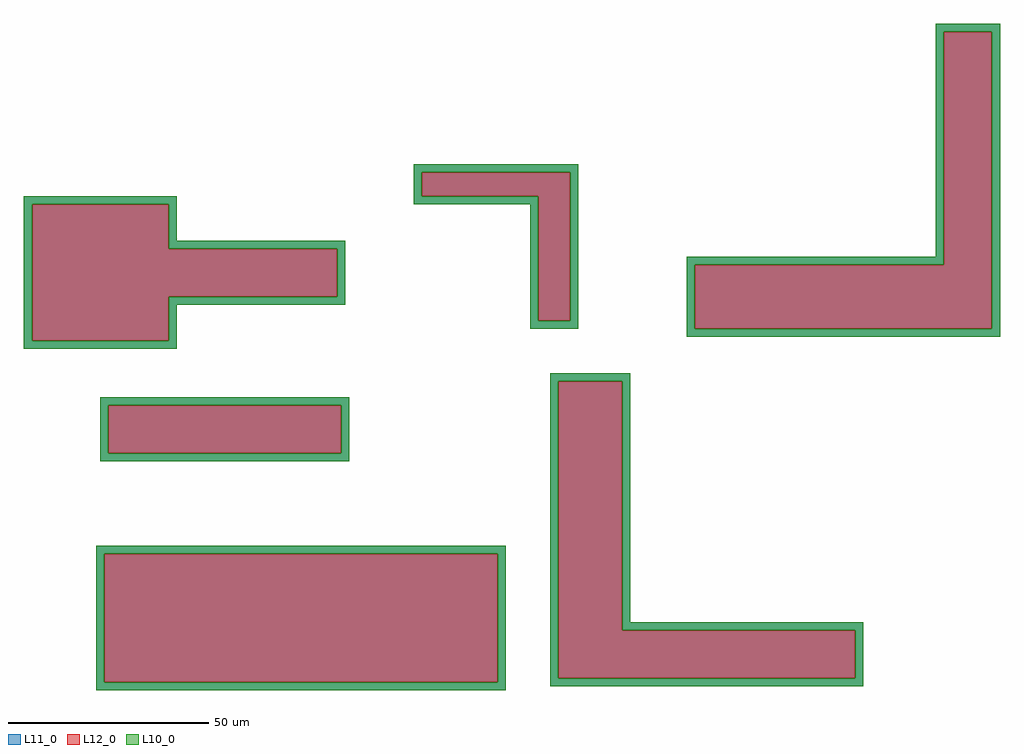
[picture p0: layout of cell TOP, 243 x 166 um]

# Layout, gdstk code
from math import pi, radians
import gdstk
lib = gdstk.Library(unit=1e-6, precision=1e-09)
def R(c, l, rs):  # rectangles x0, y0, x1, y1
    for r in rs: c.add(gdstk.rectangle(r[:2], r[2:], *l))
def P(c, l, *ps):  # polygons
    for p in ps: c.add(gdstk.Polygon(p, *l))
L10_0 = (10, 0)
L11_0 = (11, 0)
L12_0 = (12, 0)

c_a = lib.new_cell('A')

c_b = lib.new_cell('B')
R(c_b, L10_0, [(10,-19,12,12), (12,-19,22,-17), (20,-17,22,12), (-19,12,-17,20), (-17,12,12,14), (20,12,22,22), (-19,20,20,22)])
P(c_b, L11_0, [(10,-19),(10,12),(-19,12),(-19,22),(22,22),(22,-19)])
P(c_b, L12_0, [(12,-17),(12,14),(-17,14),(-17,20),(20,20),(20,-17)])

b_var1 = lib.new_cell('B$VAR1')
R(b_var1, L10_0, [(11,-18,21,-17), (11,-17,12,13), (20,-17,21,13), (-18,13,-17,20), (-17,13,12,14), (20,13,21,21), (-18,20,20,21)])
P(b_var1, L11_0, [(11,-18),(11,13),(-18,13),(-18,21),(21,21),(21,-18)])
P(b_var1, L12_0, [(12,-17),(12,14),(-17,14),(-17,20),(20,20),(20,-17)])

c_c = lib.new_cell('C')
c_c.add(gdstk.Reference(b_var1, (14,28), rotation=pi))

top = lib.new_cell('TOP')
R(top, L10_0, [(5,-102,7,-68), (7,-102,107,-100), (105,-100,107,-68), (5,-68,107,-66), (6,-45,8,-31), (8,-45,66,-43), (66,-45,68,-29), (6,-31,8,-29), (8,-31,66,-29), (-13,-17,-11,19), (-11,-17,25,-15), (23,-15,25,-4), (25,-6,67,-4), (65,-4,67,8), (23,8,25,19), (25,8,67,10), (-13,19,25,21)])
R(top, L11_0, [(5,-102,107,-66), (6,-45,68,-29)])
P(top, L11_0, [(-13,-17),(-13,21),(25,21),(25,10),(67,10),(67,-6),(25,-6),(25,-17)])
R(top, L12_0, [(7,-100,105,-68), (8,-43,66,-31)])
P(top, L12_0, [(-11,-15),(-11,19),(23,19),(23,8),(65,8),(65,-4),(23,-4),(23,-15)])
top.add(gdstk.Reference(c_a, (7,8)))
top.add(gdstk.Reference(c_a, (8,-31)))
r = gdstk.Reference(c_a, (7,-88)); r.repetition = gdstk.Repetition(2, 5, v1=(40,0), v2=(0,5)); top.add(r)
top.add(gdstk.Reference(c_b, (103,7)))
top.add(gdstk.Reference(c_c, (244,0), rotation=pi/2, magnification=2))
top.add(gdstk.Reference(b_var1, (160,-59), rotation=pi, magnification=2))

lib.write_gds('TOP.gds')
